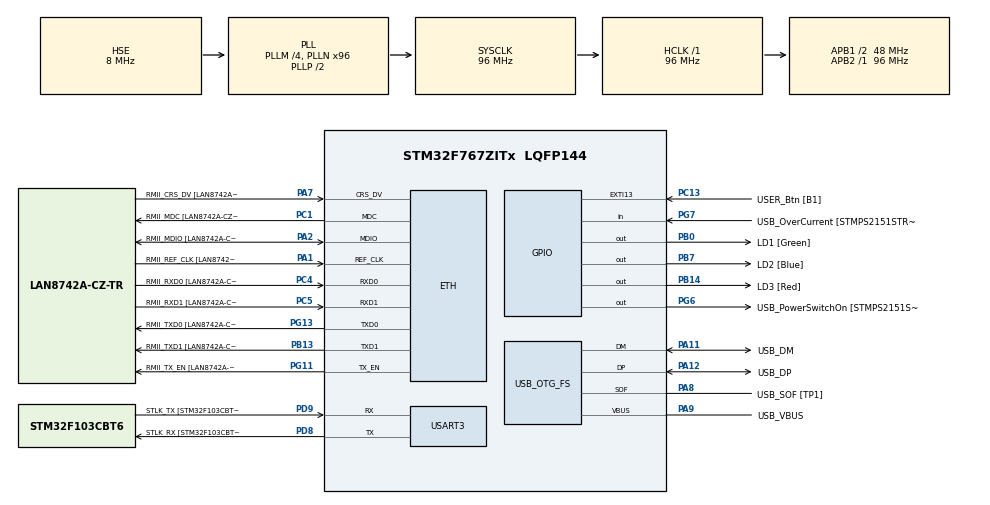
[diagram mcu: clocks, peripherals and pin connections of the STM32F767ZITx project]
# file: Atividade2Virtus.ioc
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CORTEX_M7.default_mode_Activation=1
ETH.MediaInterface=HAL_ETH_RMII_MODE
ETH.PHY_Name=LAN8742A_PHY_ADDRESS
ETH.PHY_Value=0
ETH.PhyAddress=0
FREERTOS.BinarySemaphores01=sensorSemHandle,Dynamic,NULL,Available
FREERTOS.Mutexes01=uartMutexHandle,Dynamic,NULL,Available
FREERTOS.Tasks01=defaultTask,24,256,StartDefaultTask,Default,NULL,Dynamic,NULL,NULL;TaskSensor,40,256,StartTaskSensor,Default,NULL,Dynamic,NULL,NULL;TaskProcessamen,8,256,StartTaskProcessamento,Default,NULL,Dynamic,NULL,NULL;TaskLog,8,256,StartTaskLog,Default,NULL,Dynamic,NULL,NULL
Mcu.Family=STM32F7
Mcu.Name=STM32F767ZITx
Mcu.Package=LQFP144
NVIC.PriorityGroup=NVIC_PRIORITYGROUP_4
NVIC.TIM6_DAC_IRQn=true\:15\:0\:false\:false\:true\:false\:false\:true\:true
NVIC.TimeBase=TIM6_DAC_IRQn
NVIC.TimeBaseIP=TIM6
PA1.GPIO_Label=RMII_REF_CLK [LAN8742A-CZ-TR_REFCLK0]
PA1.Mode=RMII
PA1.Signal=ETH_REF_CLK
PA10.GPIO_Label=USB_ID
PA10.Signal=USB_OTG_FS_ID
PA11.GPIO_Label=USB_DM
PA11.Mode=Device_Only
PA11.Signal=USB_OTG_FS_DM
PA12.GPIO_Label=USB_DP
PA12.Mode=Device_Only
PA12.Signal=USB_OTG_FS_DP
PA13.GPIO_Label=TMS
PA13.Mode=Serial_Wire
PA13.Signal=SYS_JTMS-SWDIO
PA14.GPIO_Label=TCK
PA14.Mode=Serial_Wire
PA14.Signal=SYS_JTCK-SWCLK
PA2.GPIO_Label=RMII_MDIO [LAN8742A-CZ-TR_MDIO]
PA2.Mode=RMII
PA2.Signal=ETH_MDIO
PA7.GPIO_Label=RMII_CRS_DV [LAN8742A-CZ-TR_CRS_DV]
PA7.Mode=RMII
PA7.Signal=ETH_CRS_DV
PA8.GPIO_Label=USB_SOF [TP1]
PA8.Mode=Activate_SOF_FS
PA8.Signal=USB_OTG_FS_SOF
PA9.GPIO_Label=USB_VBUS
PA9.Mode=Activate_VBUS
PA9.Signal=USB_OTG_FS_VBUS
PB0.GPIO_Label=LD1 [Green]
PB0.Signal=GPIO_Output
PB13.GPIO_Label=RMII_TXD1 [LAN8742A-CZ-TR_TXD1]
PB13.Mode=RMII
PB13.Signal=ETH_TXD1
PB14.GPIO_Label=LD3 [Red]
PB14.Signal=GPIO_Output
PB3.GPIO_Label=SWO
PB3.Signal=SYS_JTDO-SWO
PB7.GPIO_Label=LD2 [Blue]
PB7.Signal=GPIO_Output
PC1.GPIO_Label=RMII_MDC [LAN8742A-CZ-TR_MDC]
PC1.Mode=RMII
PC1.Signal=ETH_MDC
PC13.GPIO_Label=USER_Btn [B1]
PC13.Signal=GPXTI13
PC14/OSC32_IN.Mode=LSE-External-Oscillator
PC14/OSC32_IN.Signal=RCC_OSC32_IN
PC15/OSC32_OUT.Mode=LSE-External-Oscillator
PC15/OSC32_OUT.Signal=RCC_OSC32_OUT
PC4.GPIO_Label=RMII_RXD0 [LAN8742A-CZ-TR_RXD0]
PC4.Mode=RMII
PC4.Signal=ETH_RXD0
PC5.GPIO_Label=RMII_RXD1 [LAN8742A-CZ-TR_RXD1]
PC5.Mode=RMII
PC5.Signal=ETH_RXD1
PD8.GPIO_Label=STLK_RX [STM32F103CBT6_PA3]
PD8.Mode=Asynchronous
PD8.Signal=USART3_TX
PD9.GPIO_Label=STLK_TX [STM32F103CBT6_PA2]
PD9.Mode=Asynchronous
PD9.Signal=USART3_RX
PG11.GPIO_Label=RMII_TX_EN [LAN8742A-CZ-TR_TXEN]
PG11.Mode=RMII
PG11.Signal=ETH_TX_EN
PG13.GPIO_Label=RMII_TXD0 [LAN8742A-CZ-TR_TXD0]
PG13.Mode=RMII
PG13.Signal=ETH_TXD0
PG6.GPIO_Label=USB_PowerSwitchOn [STMPS2151STR_EN]
PG6.Signal=GPIO_Output
PG7.GPIO_Label=USB_OverCurrent [STMPS2151STR_FAULT]
PG7.Signal=GPIO_Input
PH0/OSC_IN.GPIO_Label=MCO [STM32F103CBT6_PA8]
PH0/OSC_IN.Mode=HSE-External-Clock-Source
PH0/OSC_IN.Signal=RCC_OSC_IN
PH1/OSC_OUT.Mode=HSE-External-Clock-Source
PH1/OSC_OUT.Signal=RCC_OSC_OUT
ProjectManager.HeapSize=0x200
ProjectManager.StackSize=0x400
ProjectManager.TargetToolchain=STM32CubeIDE
RCC.48MHZClocksFreq_Value=24000000
RCC.AHBFreq_Value=96000000
RCC.APB1CLKDivider=RCC_HCLK_DIV2
RCC.APB1Freq_Value=48000000
RCC.APB1TimFreq_Value=96000000
RCC.APB2Freq_Value=96000000
RCC.APB2TimFreq_Value=96000000
RCC.CortexFreq_Value=96000000
RCC.HCLKFreq_Value=96000000
RCC.HSE_VALUE=8000000
RCC.HSI_VALUE=16000000
RCC.PLLM=4
RCC.PLLMUL=RCC_PLL_MUL9
RCC.PLLN=96
RCC.PLLQ=4
RCC.PRESCALERUSB=RCC_USBCLKSOURCE_PLL_DIV1_5
RCC.SYSCLKFreq_VALUE=96000000
RCC.SYSCLKSource=RCC_SYSCLKSOURCE_PLLCLK
RCC.SYSCLKSourceVirtual=RCC_SYSCLKSOURCE_PLLCLK
RCC.USBFreq_Value=48000000
RCC.VCOOutputFreq_Value=192000000
USART3.VirtualMode-Asynchronous=VM_ASYNC
USB_OTG_FS.VirtualMode=Device_Only
VP_FREERTOS_VS_CMSIS_V2.Mode=CMSIS_V2
VP_SYS_VS_tim6.Mode=TIM6
board=NUCLEO-F767ZI

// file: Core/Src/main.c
/* USER CODE BEGIN Header */
/**
  ******************************************************************************
  * @file           : main.c
  * @brief          : Main program body
  ******************************************************************************
  * @attention
  *
  * Copyright (c) 2026 STMicroelectronics.
  * All rights reserved.
  *
  * This software is licensed under terms that can be found in the LICENSE file
  * in the root directory of this software component.
  * If no LICENSE file comes with this software, it is provided AS-IS.
  *
  ******************************************************************************
  */
/* USER CODE END Header */
#include "main.h"
#include "string.h"
#include "cmsis_os.h"

/* USER CODE BEGIN Includes */
#include <stdio.h>
/* USER CODE END Includes */

#if defined ( __ICCARM__ ) /*!< IAR Compiler */
#pragma location=0x2007c000
ETH_DMADescTypeDef  DMARxDscrTab[ETH_RX_DESC_CNT]; /* Ethernet Rx DMA Descriptors */
#pragma location=0x2007c0a0
ETH_DMADescTypeDef  DMATxDscrTab[ETH_TX_DESC_CNT]; /* Ethernet Tx DMA Descriptors */

#elif defined ( __CC_ARM )  /* MDK ARM Compiler */

__attribute__((at(0x2007c000))) ETH_DMADescTypeDef  DMARxDscrTab[ETH_RX_DESC_CNT]; /* Ethernet Rx DMA Descriptors */
__attribute__((at(0x2007c0a0))) ETH_DMADescTypeDef  DMATxDscrTab[ETH_TX_DESC_CNT]; /* Ethernet Tx DMA Descriptors */

#elif defined ( __GNUC__ ) /* GNU Compiler */

ETH_DMADescTypeDef DMARxDscrTab[ETH_RX_DESC_CNT] __attribute__((section(".RxDecripSection"))); /* Ethernet Rx DMA Descriptors */
ETH_DMADescTypeDef DMATxDscrTab[ETH_TX_DESC_CNT] __attribute__((section(".TxDecripSection")));   /* Ethernet Tx DMA Descriptors */
#endif

ETH_TxPacketConfig TxConfig;

ETH_HandleTypeDef heth;

UART_HandleTypeDef huart3;

PCD_HandleTypeDef hpcd_USB_OTG_FS;

/* Definitions for defaultTask */
osThreadId_t defaultTaskHandle;
const osThreadAttr_t defaultTask_attributes = {
  .name = "defaultTask",
  .stack_size = 256 * 4,
  .priority = (osPriority_t) osPriorityNormal,
};
/* Definitions for TaskSensor */
osThreadId_t TaskSensorHandle;
const osThreadAttr_t TaskSensor_attributes = {
  .name = "TaskSensor",
  .stack_size = 256 * 4,
  .priority = (osPriority_t) osPriorityHigh,
};
/* Definitions for TaskProcessamen */
osThreadId_t TaskProcessamenHandle;
const osThreadAttr_t TaskProcessamen_attributes = {
  .name = "TaskProcessamen",
  .stack_size = 256 * 4,
  .priority = (osPriority_t) osPriorityLow,
};
/* Definitions for TaskLog */
osThreadId_t TaskLogHandle;
const osThreadAttr_t TaskLog_attributes = {
  .name = "TaskLog",
  .stack_size = 256 * 4,
  .priority = (osPriority_t) osPriorityLow,
};
/* Definitions for uartMutexHandle */
osMutexId_t uartMutexHandleHandle;
const osMutexAttr_t uartMutexHandle_attributes = {
  .name = "uartMutexHandle"
};
/* Definitions for sensorSemHandle */
osSemaphoreId_t sensorSemHandleHandle;
const osSemaphoreAttr_t sensorSemHandle_attributes = {
  .name = "sensorSemHandle"
};

void SystemClock_Config(void);
static void MPU_Config(void);
static void MX_GPIO_Init(void);
static void MX_ETH_Init(void);
static void MX_USART3_UART_Init(void);
static void MX_USB_OTG_FS_PCD_Init(void);
void StartDefaultTask(void *argument);
void StartTaskSensor(void *argument);
void StartTaskProcessamento(void *argument);
void StartTaskLog(void *argument);

/* USER CODE BEGIN 0 */
int __io_putchar(int ch) {
    // Redireciona o printf para a USART3
    HAL_UART_Transmit(&huart3, (uint8_t *)&ch, 1, HAL_MAX_DELAY);
    return ch;
}
/* USER CODE END 0 */

int main(void)
{

  /* MPU Configuration--------------------------------------------------------*/
  MPU_Config();

  /* MCU Configuration--------------------------------------------------------*/

  /* Reset of all peripherals, Initializes the Flash interface and the Systick. */
  HAL_Init();

  /* Configure the system clock */
  SystemClock_Config();

  /* Initialize all configured peripherals */
  MX_GPIO_Init();
  MX_ETH_Init();
  MX_USART3_UART_Init();
  MX_USB_OTG_FS_PCD_Init();

  /* Init scheduler */
  osKernelInitialize();
  /* Create the mutex(es) */
  /* creation of uartMutexHandle */
  uartMutexHandleHandle = osMutexNew(&uartMutexHandle_attributes);

  /* Create the semaphores(s) */
  /* creation of sensorSemHandle */
  sensorSemHandleHandle = osSemaphoreNew(1, 1, &sensorSemHandle_attributes);

  /* Create the thread(s) */
  /* creation of defaultTask */
  defaultTaskHandle = osThreadNew(StartDefaultTask, NULL, &defaultTask_attributes);

  /* creation of TaskSensor */
  TaskSensorHandle = osThreadNew(StartTaskSensor, NULL, &TaskSensor_attributes);

  /* creation of TaskProcessamen */
  TaskProcessamenHandle = osThreadNew(StartTaskProcessamento, NULL, &TaskProcessamen_attributes);

  /* creation of TaskLog */
  TaskLogHandle = osThreadNew(StartTaskLog, NULL, &TaskLog_attributes);

  /* Start scheduler */
  osKernelStart();

  /* We should never get here as control is now taken by the scheduler */

  /* Infinite loop */
  while (1)
  {

  }
}

void SystemClock_Config(void)
{
  RCC_OscInitTypeDef RCC_OscInitStruct = {0};
  RCC_ClkInitTypeDef RCC_ClkInitStruct = {0};

  /** Configure LSE Drive Capability
  */
  HAL_PWR_EnableBkUpAccess();

  /** Configure the main internal regulator output voltage
  */
  __HAL_RCC_PWR_CLK_ENABLE();
  __HAL_PWR_VOLTAGESCALING_CONFIG(PWR_REGULATOR_VOLTAGE_SCALE3);

  /** Initializes the RCC Oscillators according to the specified parameters
  * in the RCC_OscInitTypeDef structure.
  */
  RCC_OscInitStruct.OscillatorType = RCC_OSCILLATORTYPE_HSE;
  RCC_OscInitStruct.HSEState = RCC_HSE_BYPASS;
  RCC_OscInitStruct.PLL.PLLState = RCC_PLL_ON;
  RCC_OscInitStruct.PLL.PLLSource = RCC_PLLSOURCE_HSE;
  RCC_OscInitStruct.PLL.PLLM = 4;
  RCC_OscInitStruct.PLL.PLLN = 96;
  RCC_OscInitStruct.PLL.PLLP = RCC_PLLP_DIV2;
  RCC_OscInitStruct.PLL.PLLQ = 4;
  RCC_OscInitStruct.PLL.PLLR = 2;
  if (HAL_RCC_OscConfig(&RCC_OscInitStruct) != HAL_OK)
  {
    Error_Handler();
  }

  /** Activate the Over-Drive mode
  */
  if (HAL_PWREx_EnableOverDrive() != HAL_OK)
  {
    Error_Handler();
  }

  /** Initializes the CPU, AHB and APB buses clocks
  */
  RCC_ClkInitStruct.ClockType = RCC_CLOCKTYPE_HCLK|RCC_CLOCKTYPE_SYSCLK
                              |RCC_CLOCKTYPE_PCLK1|RCC_CLOCKTYPE_PCLK2;
  RCC_ClkInitStruct.SYSCLKSource = RCC_SYSCLKSOURCE_PLLCLK;
  RCC_ClkInitStruct.AHBCLKDivider = RCC_SYSCLK_DIV1;
  RCC_ClkInitStruct.APB1CLKDivider = RCC_HCLK_DIV2;
  RCC_ClkInitStruct.APB2CLKDivider = RCC_HCLK_DIV1;

  if (HAL_RCC_ClockConfig(&RCC_ClkInitStruct, FLASH_LATENCY_3) != HAL_OK)
  {
    Error_Handler();
  }
}

static void MX_ETH_Init(void)
{

   static uint8_t MACAddr[6];

  heth.Instance = ETH;
  MACAddr[0] = 0x00;
  MACAddr[1] = 0x80;
  MACAddr[2] = 0xE1;
  MACAddr[3] = 0x00;
  MACAddr[4] = 0x00;
  MACAddr[5] = 0x00;
  heth.Init.MACAddr = &MACAddr[0];
  heth.Init.MediaInterface = HAL_ETH_RMII_MODE;
  heth.Init.TxDesc = DMATxDscrTab;
  heth.Init.RxDesc = DMARxDscrTab;
  heth.Init.RxBuffLen = 1524;

  if (HAL_ETH_Init(&heth) != HAL_OK)
  {
    Error_Handler();
  }

  memset(&TxConfig, 0 , sizeof(ETH_TxPacketConfig));
  TxConfig.Attributes = ETH_TX_PACKETS_FEATURES_CSUM | ETH_TX_PACKETS_FEATURES_CRCPAD;
  TxConfig.ChecksumCtrl = ETH_CHECKSUM_IPHDR_PAYLOAD_INSERT_PHDR_CALC;
  TxConfig.CRCPadCtrl = ETH_CRC_PAD_INSERT;

}

static void MX_USART3_UART_Init(void)
{

  huart3.Instance = USART3;
  huart3.Init.BaudRate = 115200;
  huart3.Init.WordLength = UART_WORDLENGTH_8B;
  huart3.Init.StopBits = UART_STOPBITS_1;
  huart3.Init.Parity = UART_PARITY_NONE;
  huart3.Init.Mode = UART_MODE_TX_RX;
  huart3.Init.HwFlowCtl = UART_HWCONTROL_NONE;
  huart3.Init.OverSampling = UART_OVERSAMPLING_16;
  huart3.Init.OneBitSampling = UART_ONE_BIT_SAMPLE_DISABLE;
  huart3.AdvancedInit.AdvFeatureInit = UART_ADVFEATURE_NO_INIT;
  if (HAL_UART_Init(&huart3) != HAL_OK)
  {
    Error_Handler();
  }

}

static void MX_USB_OTG_FS_PCD_Init(void)
{

  hpcd_USB_OTG_FS.Instance = USB_OTG_FS;
  hpcd_USB_OTG_FS.Init.dev_endpoints = 6;
  hpcd_USB_OTG_FS.Init.speed = PCD_SPEED_FULL;
  hpcd_USB_OTG_FS.Init.dma_enable = DISABLE;
  hpcd_USB_OTG_FS.Init.phy_itface = PCD_PHY_EMBEDDED;
  hpcd_USB_OTG_FS.Init.Sof_enable = ENABLE;
  hpcd_USB_OTG_FS.Init.low_power_enable = DISABLE;
  hpcd_USB_OTG_FS.Init.lpm_enable = DISABLE;
  hpcd_USB_OTG_FS.Init.vbus_sensing_enable = ENABLE;
  hpcd_USB_OTG_FS.Init.use_dedicated_ep1 = DISABLE;
  if (HAL_PCD_Init(&hpcd_USB_OTG_FS) != HAL_OK)
  {
    Error_Handler();
  }

}

static void MX_GPIO_Init(void)
{
  GPIO_InitTypeDef GPIO_InitStruct = {0};

  /* GPIO Ports Clock Enable */
  __HAL_RCC_GPIOC_CLK_ENABLE();
  __HAL_RCC_GPIOH_CLK_ENABLE();
  __HAL_RCC_GPIOA_CLK_ENABLE();
  __HAL_RCC_GPIOB_CLK_ENABLE();
  __HAL_RCC_GPIOD_CLK_ENABLE();
  __HAL_RCC_GPIOG_CLK_ENABLE();

  /*Configure GPIO pin Output Level */
  HAL_GPIO_WritePin(GPIOB, LD1_Pin|LD3_Pin|LD2_Pin, GPIO_PIN_RESET);

  /*Configure GPIO pin Output Level */
  HAL_GPIO_WritePin(USB_PowerSwitchOn_GPIO_Port, USB_PowerSwitchOn_Pin, GPIO_PIN_RESET);

  /*Configure GPIO pin : USER_Btn_Pin */
  GPIO_InitStruct.Pin = USER_Btn_Pin;
  GPIO_InitStruct.Mode = GPIO_MODE_IT_RISING;
  GPIO_InitStruct.Pull = GPIO_NOPULL;
  HAL_GPIO_Init(USER_Btn_GPIO_Port, &GPIO_InitStruct);

  /*Configure GPIO pins : LD1_Pin LD3_Pin LD2_Pin */
  GPIO_InitStruct.Pin = LD1_Pin|LD3_Pin|LD2_Pin;
  GPIO_InitStruct.Mode = GPIO_MODE_OUTPUT_PP;
  GPIO_InitStruct.Pull = GPIO_NOPULL;
  GPIO_InitStruct.Speed = GPIO_SPEED_FREQ_LOW;
  HAL_GPIO_Init(GPIOB, &GPIO_InitStruct);

  /*Configure GPIO pin : USB_PowerSwitchOn_Pin */
  GPIO_InitStruct.Pin = USB_PowerSwitchOn_Pin;
  GPIO_InitStruct.Mode = GPIO_MODE_OUTPUT_PP;
  GPIO_InitStruct.Pull = GPIO_NOPULL;
  GPIO_InitStruct.Speed = GPIO_SPEED_FREQ_LOW;
  HAL_GPIO_Init(USB_PowerSwitchOn_GPIO_Port, &GPIO_InitStruct);

  /*Configure GPIO pin : USB_OverCurrent_Pin */
  GPIO_InitStruct.Pin = USB_OverCurrent_Pin;
  GPIO_InitStruct.Mode = GPIO_MODE_INPUT;
  GPIO_InitStruct.Pull = GPIO_NOPULL;
  HAL_GPIO_Init(USB_OverCurrent_GPIO_Port, &GPIO_InitStruct);

}

void StartDefaultTask(void *argument)
{
  for(;;)
  {
    osDelay(1);
  }
}

void StartTaskSensor(void *argument)
{
  /* USER CODE BEGIN StartTaskSensor */
  /* Infinite loop */
  for(;;)
  {
    // Simula o tempo de aquisição de um novo dado pelo sensor (Atividade 1 e 3)
    osDelay(1000);

    // Libera o semáforo binário indicando que há dado disponível
    osSemaphoreRelease(sensorSemHandleHandle);
  }
  /* USER CODE END StartTaskSensor */
}

void StartTaskProcessamento(void *argument)
{
  /* USER CODE BEGIN StartTaskProcessamento */
  /* Infinite loop */
  for(;;)
  {
    // Bloqueia a tarefa indefinidamente até que o sensor libere o semáforo
    osSemaphoreAcquire(sensorSemHandleHandle, osWaitForever);

    // Solicita acesso exclusivo à UART via Mutex (Atividade 5)
    osMutexAcquire(uartMutexHandleHandle, osWaitForever);

    // Região crítica protegida
    printf("Processamento: Dado processado com sucesso!\r\n");

    // Libera o recurso da UART
    osMutexRelease(uartMutexHandleHandle);
  }
  /* USER CODE END StartTaskProcessamento */
}

void StartTaskLog(void *argument)
{
  /* USER CODE BEGIN StartTaskLog */
  /* Infinite loop */
  for(;;)
  {
    osDelay(3000); // Aguarda intervalo de log

    // Tenta obter o Mutex com timeout (Atividade 7)
    if (osMutexAcquire(uartMutexHandleHandle, 100) == osOK)
    {
        printf("Log [Supervisao]: Sistema operando normalmente.\r\n");
        osMutexRelease(uartMutexHandleHandle);
    }
    else
    {
        // Falha graciosamente se a UART estiver ocupada (timeout)
    }
  }
  /* USER CODE END StartTaskLog */
}

 /* MPU Configuration */

void MPU_Config(void)
{
  MPU_Region_InitTypeDef MPU_InitStruct = {0};

  /* Disables the MPU */
  HAL_MPU_Disable();

  /** Initializes and configures the Region and the memory to be protected
  */
  MPU_InitStruct.Enable = MPU_REGION_ENABLE;
  MPU_InitStruct.Number = MPU_REGION_NUMBER0;
  MPU_InitStruct.BaseAddress = 0x0;
  MPU_InitStruct.Size = MPU_REGION_SIZE_4GB;
  MPU_InitStruct.SubRegionDisable = 0x87;
  MPU_InitStruct.TypeExtField = MPU_TEX_LEVEL0;
  MPU_InitStruct.AccessPermission = MPU_REGION_NO_ACCESS;
  MPU_InitStruct.DisableExec = MPU_INSTRUCTION_ACCESS_DISABLE;
  MPU_InitStruct.IsShareable = MPU_ACCESS_SHAREABLE;
  MPU_InitStruct.IsCacheable = MPU_ACCESS_NOT_CACHEABLE;
  MPU_InitStruct.IsBufferable = MPU_ACCESS_NOT_BUFFERABLE;

  HAL_MPU_ConfigRegion(&MPU_InitStruct);
  /* Enables the MPU */
  HAL_MPU_Enable(MPU_PRIVILEGED_DEFAULT);

}

void HAL_TIM_PeriodElapsedCallback(TIM_HandleTypeDef *htim)
{
  if (htim->Instance == TIM6)
  {
    HAL_IncTick();
  }
}

void Error_Handler(void)
{
  __disable_irq();
  while (1)
  {
  }
}
